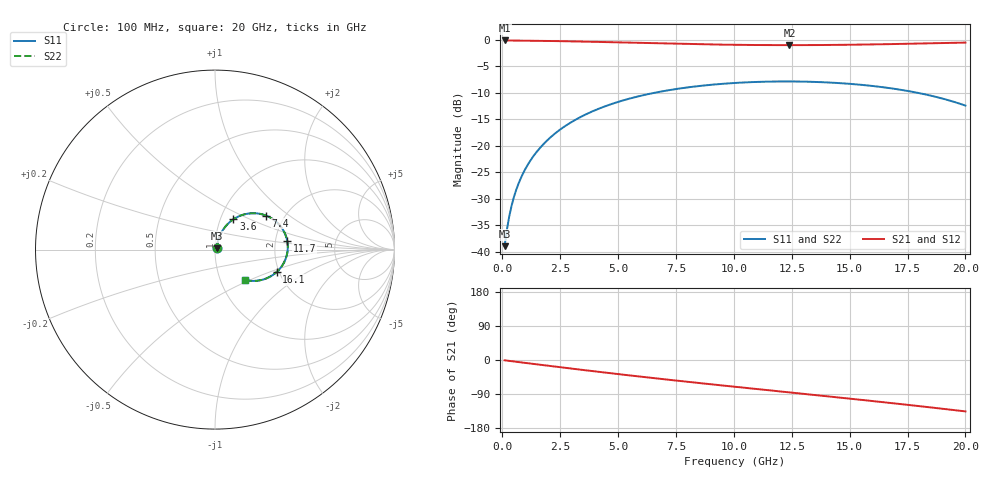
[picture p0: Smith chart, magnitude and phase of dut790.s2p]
! Touchstone file exported from HFSS 2026.1.0
!  File:  C:/ffzhzh/LocalFiles/Ansys_Project_Files/temp_train_TSV_RDL_790_1783260953_38820.aedt
!  Generated:  10:27:32 PM Jul  5, 2026
!  Design:  TSV_RDL
!  Project:  temp_train_TSV_RDL_790_1783260953_38820
! Variables:
!  h_bsmrdl = 3.57um
!  h_ox = 20um
!  h_rdl = 5um
!  h_sub = 69.86um
!  h_tmrdl = 2.82um
!  h_tsv = 69.86um
!  h_via = 3um
!  l_bsmrdl = 192.23um
!  l_sub = 2293.37um
!  l_tmrdl = 290.95um
!  m_sub = 200um
!  pitch = 50.73um
!  r_tsv = 12.64um
!  s_tmrdl = 10um
!  w_bsmrdl = 24.18um
!  w_sub = 500um
!  w_tmrdl = 26.78um
!  x_tsv_center1 = 304.34um
!  x_tsv_center2 = 520.75um
!  x_tsv_center3 = 838.48um
!  x_tsv_center4 = 1054.89um
!  x_tsv_center5 = 1372.62um
!  x_tsv_center6 = 1589.03um
# GHz S MA R 50.000000
! Terminal data exported
! Port[1] = TM_RDL1_1_T1
! Port[2] = TM_RDL5_1_T1
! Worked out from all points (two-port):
!   200 points, 100 MHz to 20 GHz, reference 50 ohm
!   highest |S21| = -0.08 dB at 100 MHz (marker M1); lowest = -1.0 dB at 12.4 GHz (marker M2)
!   |S21| within 3 dB of the highest: start of sweep to end of sweep
!   lowest |S11| = -39.0 dB at 100 MHz (marker M3), VSWR 1.02, Z = 50.9 + j0.662 ohm
!   |S11| at or under -10 dB: start of sweep to 6.545 GHz; 17.96 GHz to end of sweep
!   |S22| runs from -39.0 to -7.8 dB; largest |S21 - S12| = 4.1e-13
!   S11 on the Smith chart (normalised r, x): 100 MHz: 1.02, +0.01; 3.6 GHz: 1.15, +0.41; 7.4 GHz: 1.61, +0.69; 11.7 GHz: 2.32, +0.28; 16.1 GHz: 1.94, -0.56; 20 GHz: 1.31, -0.47
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0.1  0.01125 35.3  0.9909 -0.8  0.9909 -0.8  0.01125 35.3
! Gamma 0 0 0 0
! Port Impedance 50 0 50 0
0.2  0.0161 52.0  0.9904 -1.6  0.9904 -1.6  0.0161 52.0
0.3  0.02154 59.9  0.9898 -2.4  0.9898 -2.4  0.02154 59.9
0.5  0.03269 66.8  0.9887 -3.9  0.9887 -3.9  0.03269 66.8
0.8  0.04947 70.2  0.9873 -6.2  0.9873 -6.2  0.04947 70.2
1.1  0.06624 71.0  0.9858 -8.5  0.9858 -8.5  0.06624 71.0
1.6  0.09399 70.0  0.9829 -12.3  0.9829 -12.3  0.09399 70.0
2.1  0.1212 67.7  0.9795 -16.1  0.9795 -16.1  0.1212 67.7
2.7  0.153 64.3  0.9745 -20.5  0.9745 -20.5  0.153 64.3
3.5  0.1931 59.3  0.9668 -26.4  0.9668 -26.4  0.1931 59.3
3.6  0.1979 58.7  0.9657 -27.2  0.9657 -27.2  0.1979 58.7
5.1  0.2641 48.8  0.9487 -37.9  0.9487 -37.9  0.2641 48.8
6.8  0.3242 37.6  0.9291 -49.6  0.9291 -49.6  0.3242 37.6
7.4  0.3414 33.8  0.9226 -53.6  0.9226 -53.6  0.3414 33.8
10.1  0.3935 16.8  0.901 -71.0  0.901 -71.0  0.3935 16.8
11.7  0.4053 7.0  0.8953 -81.1  0.8953 -81.1  0.4053 7.0
12.4  0.406 2.8  0.8948 -85.5  0.8948 -85.5  0.406 2.8
13.4  0.4025 -3.3  0.896 -91.7  0.896 -91.7  0.4025 -3.3
16.1  0.3656 -20.0  0.9098 -109.0  0.9098 -109.0  0.3656 -20.0
16.7  0.3518 -23.8  0.9146 -112.9  0.9146 -112.9  0.3518 -23.7
18.5  0.2983 -35.3  0.9313 -125.1  0.9313 -125.1  0.2983 -35.3
20  0.2399 -45.0  0.9459 -135.6  0.9459 -135.6  0.24 -45.0
